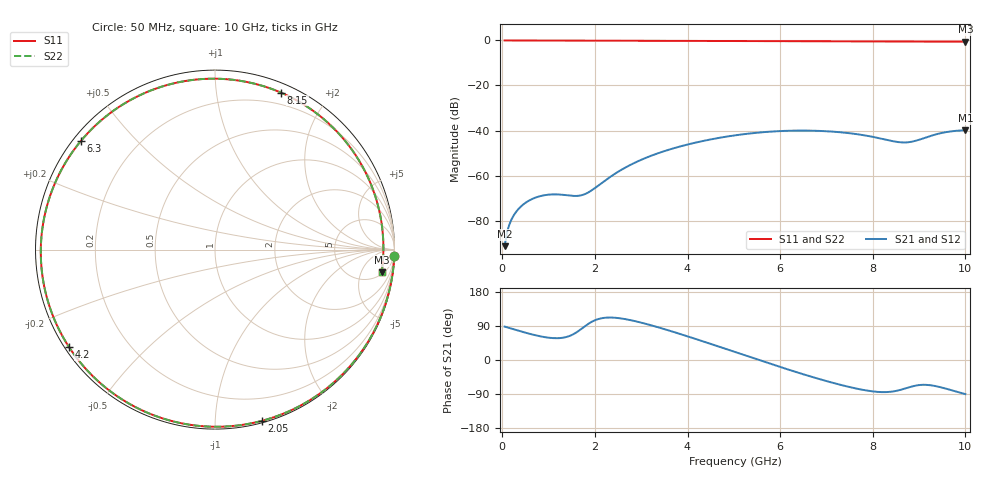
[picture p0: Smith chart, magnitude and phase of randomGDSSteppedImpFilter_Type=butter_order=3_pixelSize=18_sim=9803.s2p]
! freq	dB(S11)	phase(S11)	dB(S12)	phase(S12)
!  dB(S21)	phase(S21)	dB(S22)	phase(S22)
!S-par simulation data
#  GHz  S  DB  R 50
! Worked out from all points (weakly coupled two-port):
!   200 points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, 50 MHz to 10 GHz, reference 50 ohm
!   highest |S21| = -39.85 dB at 10 GHz (marker M1); lowest = -91.3 dB at 50 MHz (marker M2)
!   lowest |S11| = -0.6 dB at 10 GHz (marker M3), VSWR 30.67, Z = 290 - j599 ohm
!   |S11| at or under -10 dB: nowhere
!   |S22| runs from -0.6 to 0.0 dB; largest |S21 - S12| = 0
!   S11 on the Smith chart (normalised r, x): 50 MHz: 0, -60; 2.05 GHz: 0.01, -1.31; 4.2 GHz: 0.01, -0.30; 6.3 GHz: 0.02, +0.35; 8.15 GHz: 0.09, +1.50; 10 GHz: 6, -12
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0.05  -0.00 -1.9  -91.34 88.2  -91.34 88.2  -0.00 -1.9
0.2  -0.01 -7.5  -79.42 82.7  -79.42 82.7  -0.01 -7.5
0.4  -0.02 -15.0  -73.77 75.5  -73.77 75.5  -0.02 -15.0
0.75  -0.04 -28.0  -69.54 64.4  -69.54 64.4  -0.04 -28.0
1.05  -0.05 -39.0  -68.38 58.2  -68.38 58.2  -0.05 -39.0
1.75  -0.08 -64.1  -68.48 85.9  -68.48 85.9  -0.08 -64.1
2.05  -0.09 -74.6  -64.79 107.1  -64.79 107.1  -0.09 -74.6
2.7  -0.12 -96.9  -55.96 106.9  -55.96 106.9  -0.12 -96.8
3.4  -0.15 -120.1  -49.81 85.1  -49.81 85.1  -0.15 -120.1
4.2  -0.19 -146.4  -45.23 54.6  -45.23 54.6  -0.19 -146.3
5.05  -0.25 -174.6  -42.06 20.1  -42.06 20.1  -0.25 -174.6
5.7  -0.29 162.9  -40.62 -6.3  -40.62 -6.3  -0.29 163.0
6.3  -0.34 141.2  -40.04 -30.1  -40.04 -30.1  -0.34 141.2
6.7  -0.37 126.0  -40.07 -45.1  -40.07 -45.1  -0.37 126.1
7.45  -0.42 96.2  -41.07 -70.0  -41.07 -70.0  -0.42 96.3
7.8  -0.44 81.8  -42.05 -79.1  -42.05 -79.1  -0.44 81.8
8.15  -0.46 67.2  -43.45 -84.5  -43.45 -84.5  -0.46 67.2
8.35  -0.47 58.8  -44.37 -84.3  -44.37 -84.3  -0.47 58.8
8.75  -0.49 42.0  -45.23 -73.3  -45.23 -73.3  -0.49 42.1
9.2  -0.52 23.5  -42.72 -66.0  -42.72 -66.0  -0.52 23.5
9.6  -0.54 7.5  -40.64 -76.3  -40.64 -76.3  -0.54 7.6
10  -0.57 -7.7  -39.85 -90.1  -39.85 -90.1  -0.57 -7.7
